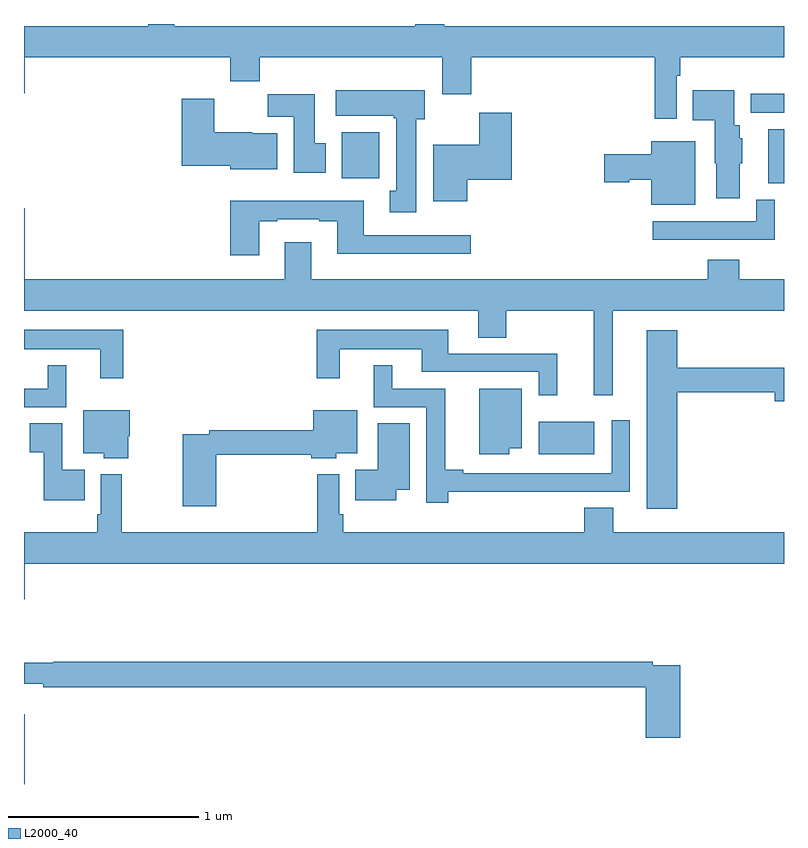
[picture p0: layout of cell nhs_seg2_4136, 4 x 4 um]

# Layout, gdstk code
import gdstk
lib = gdstk.Library(unit=1e-6, precision=1e-09)
def R(c, l, rs):  # rectangles x0, y0, x1, y1
    for r in rs: c.add(gdstk.rectangle(r[:2], r[2:], *l))
def P(c, l, *ps):  # polygons
    for p in ps: c.add(gdstk.Polygon(p, *l))
L2000_40 = (2000, 40)

nhs_seg2_4136 = lib.new_cell('nhs_seg2_4136')
R(nhs_seg2_4136, L2000_40, [(333,655.8,333.004,656.167), (335.708,657.536,336.001,657.706), (336.917,658.961,337,659.245), (334.673,658.988,334.87,659.23), (336.825,659.334,337,659.432)])
P(nhs_seg2_4136, L2000_40, [(333.655,659.8),(333.655,659.788),(333,659.788),(333,659.436),(333.004,659.436),(333.004,659.624),(334.085,659.624),(334.085,659.5),(334.241,659.5),(334.241,659.624),(335.201,659.624),(335.201,659.43),(335.354,659.43),(335.354,659.624),(336.319,659.624),(336.319,659.301),(336.435,659.301),(336.435,659.528),(336.455,659.528),(336.455,659.624),(337,659.624),(337,659.788),(335.212,659.788),(335.212,659.8),(335.06,659.8),(335.06,659.788),(333.791,659.788),(333.791,659.8)],
  [(335.065,659.298),(335.11,659.298),(335.11,659.452),(334.641,659.452),(334.641,659.318),(334.945,659.318),(334.945,659.305),(334.958,659.305),(334.958,658.922),(334.925,658.922),(334.925,658.809),(335.065,658.809)],
  [(336.766,659.067),(336.781,659.067),(336.781,659.199),(336.766,659.199),(336.766,659.268),(336.739,659.268),(336.739,659.452),(336.52,659.452),(336.52,659.294),(336.635,659.294),(336.635,659.067),(336.644,659.067),(336.644,658.884),(336.766,658.884)],
  [(334.588,659.172),(334.531,659.172),(334.531,659.431),(334.282,659.431),(334.282,659.312),(334.421,659.312),(334.421,659.016),(334.588,659.016)],
  [(334.333,659.224),(334.2,659.224),(334.2,659.23),(334,659.23),(334,659.407),(333.83,659.407),(333.83,659.054),(334.086,659.054),(334.086,659.036),(334.333,659.036)],
  [(335.332,658.979),(335.567,658.979),(335.567,659.332),(335.396,659.332),(335.396,659.164),(335.153,659.164),(335.153,658.868),(335.332,658.868)],
  [(336.532,659.182),(336.302,659.182),(336.302,659.114),(336.054,659.114),(336.054,658.967),(336.186,658.967),(336.186,658.979),(336.302,658.979),(336.302,658.85),(336.532,658.85)],
  [(336.952,658.876),(336.855,658.876),(336.855,658.761),(336.309,658.761),(336.309,658.665),(336.952,658.665)],
  [(334.237,658.761),(334.333,658.761),(334.333,658.773),(334.553,658.773),(334.553,658.761),(334.649,658.761),(334.649,658.592),(335.35,658.592),(335.35,658.689),(334.789,658.689),(334.789,658.87),(334.085,658.87),(334.085,658.584),(334.237,658.584)],
  [(336.098,658.292),(337,658.292),(337,658.456),(336.764,658.456),(336.764,658.558),(336.599,658.558),(336.599,658.456),(334.513,658.456),(334.513,658.651),(334.373,658.651),(334.373,658.456),(333.004,658.456),(333.004,658.831),(333,658.831),(333,658.292),(335.39,658.292),(335.39,658.15),(335.538,658.15),(335.538,658.292),(335.999,658.292),(335.999,657.846),(336.098,657.846)],
  [(335.807,658.065),(335.233,658.065),(335.233,658.192),(334.542,658.192),(334.542,657.936),(334.663,657.936),(334.663,658.088),(335.093,658.088),(335.093,657.969),(335.709,657.969),(335.709,657.846),(335.807,657.846)],
  [(333.523,658.192),(333,658.192),(333,658.088),(333.401,658.088),(333.401,657.936),(333.523,657.936)],
  [(336.437,657.862),(336.95,657.862),(336.95,657.815),(337,657.815),(337,657.991),(336.437,657.991),(336.437,658.189),(336.278,658.189),(336.278,657.249),(336.437,657.249)],
  [(335.234,657.338),(335.864,657.338),(335.864,657.339),(336.189,657.339),(336.189,657.715),(336.093,657.715),(336.093,657.435),(335.311,657.435),(335.311,657.455),(335.216,657.455),(335.216,657.879),(334.939,657.879),(334.939,658.003),(334.841,658.003),(334.841,657.783),(335.118,657.783),(335.118,657.279),(335.234,657.279)],
  [(333.223,658.003),(333.125,658.003),(333.125,657.879),(333,657.879),(333,657.783),(333.223,657.783)],
  [(335.554,657.566),(335.62,657.566),(335.62,657.88),(335.396,657.88),(335.396,657.536),(335.554,657.536)],
  [(333.549,657.63),(333.556,657.63),(333.556,657.766),(333.311,657.766),(333.311,657.542),(333.42,657.542),(333.42,657.515),(333.549,657.515)],
  [(334.013,657.534),(334.511,657.534),(334.511,657.515),(334.644,657.515),(334.644,657.542),(334.753,657.542),(334.753,657.766),(334.523,657.766),(334.523,657.662),(333.976,657.662),(333.976,657.642),(333.835,657.642),(333.835,657.261),(334.013,657.261)],
  [(334.96,657.35),(335.029,657.35),(335.029,657.698),(334.862,657.698),(334.862,657.454),(334.744,657.454),(334.744,657.293),(334.96,657.293)],
  [(333.32,657.454),(333.201,657.454),(333.201,657.698),(333.031,657.698),(333.031,657.547),(333.104,657.547),(333.104,657.293),(333.32,657.293)],
  [(333.004,656.96),(337,656.96),(337,657.124),(336.1,657.124),(336.1,657.254),(335.948,657.254),(335.948,657.124),(334.679,657.124),(334.679,657.22),(334.659,657.22),(334.659,657.43),(334.543,657.43),(334.543,657.124),(333.514,657.124),(333.514,657.43),(333.405,657.43),(333.405,657.22),(333.385,657.22),(333.385,657.124),(333,657.124),(333,656.772),(333.004,656.772)],
  [(336.455,656.424),(336.308,656.424),(336.308,656.444),(333.155,656.444),(333.155,656.437),(333,656.437),(333,656.327),(333.1,656.327),(333.1,656.308),(336.272,656.308),(336.272,656.043),(336.455,656.043)])

lib.write_gds('nhs_seg2_4136.gds')
